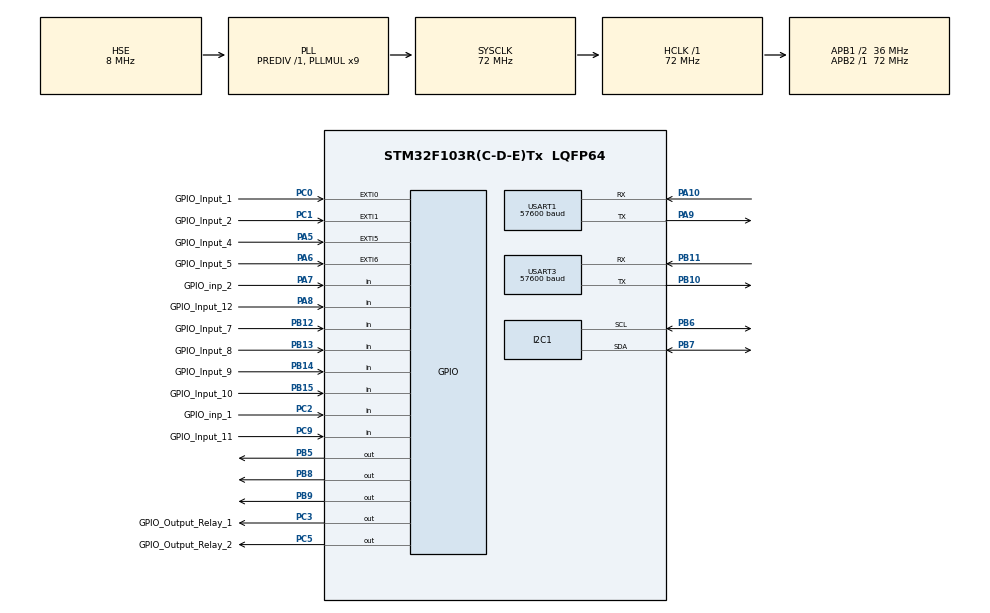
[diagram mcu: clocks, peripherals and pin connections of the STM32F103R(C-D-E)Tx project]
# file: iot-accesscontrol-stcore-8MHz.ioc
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Dma.Request0=USART1_RX
Dma.USART1_RX.0.Direction=DMA_PERIPH_TO_MEMORY
Dma.USART1_RX.0.Instance=DMA1_Channel5
Dma.USART1_RX.0.MemDataAlignment=DMA_MDATAALIGN_BYTE
Dma.USART1_RX.0.MemInc=DMA_MINC_ENABLE
Dma.USART1_RX.0.Mode=DMA_NORMAL
Dma.USART1_RX.0.PeriphDataAlignment=DMA_PDATAALIGN_BYTE
Dma.USART1_RX.0.PeriphInc=DMA_PINC_DISABLE
Dma.USART1_RX.0.Priority=DMA_PRIORITY_VERY_HIGH
IWDG.Prescaler=IWDG_PRESCALER_64
IWDG.Reload=1875
Mcu.Family=STM32F1
Mcu.Name=STM32F103R(C-D-E)Tx
Mcu.Package=LQFP64
NVIC.DMA1_Channel5_IRQn=true\:13\:0\:true\:false\:true\:true\:false\:true\:true
NVIC.EXTI0_IRQn=true\:14\:0\:true\:false\:true\:false\:true\:true\:true
NVIC.EXTI1_IRQn=true\:14\:0\:true\:false\:true\:false\:true\:true\:true
NVIC.EXTI9_5_IRQn=true\:14\:0\:true\:false\:true\:false\:true\:true\:true
NVIC.PriorityGroup=NVIC_PRIORITYGROUP_4
NVIC.TIM2_IRQn=true\:15\:0\:false\:false\:true\:false\:false\:true\:true
NVIC.TimeBase=TIM2_IRQn
NVIC.TimeBaseIP=TIM2
PA10.Mode=Asynchronous
PA10.Signal=USART1_RX
PA13.Mode=Serial_Wire
PA13.Signal=SYS_JTMS-SWDIO
PA14.Mode=Serial_Wire
PA14.Signal=SYS_JTCK-SWCLK
PA5.GPIO_Label=GPIO_Input_4
PA5.GPIO_ModeDefaultEXTI=GPIO_MODE_IT_FALLING
PA5.GPIO_PuPd=GPIO_NOPULL
PA5.Signal=GPXTI5
PA6.GPIO_Label=GPIO_Input_5
PA6.GPIO_ModeDefaultEXTI=GPIO_MODE_IT_FALLING
PA6.GPIO_PuPd=GPIO_NOPULL
PA6.Signal=GPXTI6
PA7.GPIO_Label=GPIO_inp_2
PA7.GPIO_PuPd=GPIO_PULLUP
PA7.Signal=GPIO_Input
PA8.GPIO_Label=GPIO_Input_12
PA8.GPIO_PuPd=GPIO_PULLUP
PA8.Signal=GPIO_Input
PA9.Mode=Asynchronous
PA9.Signal=USART1_TX
PB10.Mode=Asynchronous
PB10.Signal=USART3_TX
PB11.Mode=Asynchronous
PB11.Signal=USART3_RX
PB12.GPIO_Label=GPIO_Input_7
PB12.GPIO_PuPd=GPIO_PULLUP
PB12.Signal=GPIO_Input
PB13.GPIO_Label=GPIO_Input_8
PB13.GPIO_PuPd=GPIO_PULLUP
PB13.Signal=GPIO_Input
PB14.GPIO_Label=GPIO_Input_9
PB14.GPIO_PuPd=GPIO_PULLUP
PB14.Signal=GPIO_Input
PB15.GPIO_Label=GPIO_Input_10
PB15.GPIO_PuPd=GPIO_PULLUP
PB15.Signal=GPIO_Input
PB5.GPIO_PuPd=GPIO_PULLUP
PB5.PinState=GPIO_PIN_SET
PB5.Signal=GPIO_Output
PB6.Mode=I2C
PB6.Signal=I2C1_SCL
PB7.Mode=I2C
PB7.Signal=I2C1_SDA
PB8.GPIO_PuPd=GPIO_PULLUP
PB8.PinState=GPIO_PIN_SET
PB8.Signal=GPIO_Output
PB9.GPIO_PuPd=GPIO_PULLUP
PB9.PinState=GPIO_PIN_SET
PB9.Signal=GPIO_Output
PC0.GPIO_Label=GPIO_Input_1
PC0.GPIO_ModeDefaultEXTI=GPIO_MODE_IT_FALLING
PC0.GPIO_PuPd=GPIO_NOPULL
PC0.Signal=GPXTI0
PC1.GPIO_Label=GPIO_Input_2
PC1.GPIO_ModeDefaultEXTI=GPIO_MODE_IT_FALLING
PC1.GPIO_PuPd=GPIO_NOPULL
PC1.Signal=GPXTI1
PC2.GPIO_Label=GPIO_inp_1
PC2.GPIO_PuPd=GPIO_PULLUP
PC2.Signal=GPIO_Input
PC3.GPIO_Label=GPIO_Output_Relay_1
PC3.GPIO_PuPd=GPIO_PULLDOWN
PC3.Signal=GPIO_Output
PC5.GPIO_Label=GPIO_Output_Relay_2
PC5.GPIO_PuPd=GPIO_PULLDOWN
PC5.PinState=GPIO_PIN_RESET
PC5.Signal=GPIO_Output
PC9.GPIO_Label=GPIO_Input_11
PC9.GPIO_PuPd=GPIO_PULLUP
PC9.Signal=GPIO_Input
PD0-OSC_IN.Mode=HSE-External-Oscillator
PD0-OSC_IN.Signal=RCC_OSC_IN
PD1-OSC_OUT.Mode=HSE-External-Oscillator
PD1-OSC_OUT.Signal=RCC_OSC_OUT
ProjectManager.HeapSize=0x200
ProjectManager.StackSize=0x400
ProjectManager.TargetToolchain=STM32CubeIDE
RCC.AHBFreq_Value=72000000
RCC.APB1CLKDivider=RCC_HCLK_DIV2
RCC.APB1Freq_Value=36000000
RCC.APB1TimFreq_Value=72000000
RCC.APB2Freq_Value=72000000
RCC.APB2TimFreq_Value=72000000
RCC.HCLKFreq_Value=72000000
RCC.PLLMUL=RCC_PLL_MUL9
RCC.PLLSourceVirtual=RCC_PLLSOURCE_HSE
RCC.SYSCLKFreq_VALUE=72000000
RCC.SYSCLKSource=RCC_SYSCLKSOURCE_PLLCLK
RCC.USBFreq_Value=72000000
SEGGER.I-CUBE-embOS.1.3.1.OS_NUMBER_OF_TASKS=0
SEGGER.I-CUBE-embOS.1.3.1.embOSCcRTOSJjembOSOoAPIOoconfiguration=Native
SEGGER.I-CUBE-embOS.1.3.1.embOSCcRTOSJjembOSOokernelOoconfiguration=DebugOoandOoProfiling
USART1.BaudRate=57600
USART1.Parity=PARITY_NONE
USART1.StopBits=STOPBITS_1
USART1.VirtualMode=VM_ASYNC
USART1.WordLength=WORDLENGTH_8B
USART3.BaudRate=57600
USART3.Parity=PARITY_NONE
USART3.StopBits=STOPBITS_1
USART3.VirtualMode=VM_ASYNC
USART3.WordLength=WORDLENGTH_8B
VP_IWDG_VS_IWDG.Mode=IWDG_Activate
VP_SEGGER.I-CUBE-embOS_VS_RTOSJjembOS_1.1.0_1.3.1.Mode=RTOSJjembOS
VP_SYS_VS_tim2.Mode=TIM2
board=custom

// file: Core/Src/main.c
/* USER CODE BEGIN Header */
/**
  ******************************************************************************
  * @file           : main.c
  * @brief          : Main program body
  ******************************************************************************
  * @attention
  *
  * Copyright (c) 2024 STMicroelectronics.
  * All rights reserved.
  *
  * This software is licensed under terms that can be found in the LICENSE file
  * in the root directory of this software component.
  * If no LICENSE file comes with this software, it is provided AS-IS.
  *
  ******************************************************************************
  */
//Port 1 Weignad:
//                  W0 -> In1 -> PC.0
//                  W1 -> In2 -> PC.1
//                  In -> In3 -> PC.2

//Port 2 Weigand:
//                  W0 -> In4 -> PA.5  XX1 XXX
//                  W1 -> In5 -> PA.6  X1X XXX
//                  In -> In6 -> PA.7  1XX XXX

//Inputs:
//                  In7  -> pB.12
//                  In8  -> pB.13
//                  In9  -> pB.14
//                  In10 -> pB.15
//                  In11 -> pC.9
//                  In12 -> pA.8

/* USER CODE END Header */
#include "main.h"
/* Scheduler includes. */
#include "RTOS.h"

#include "dma.h"
#include "i2c.h"
#include "iwdg.h"
#include "usart.h"
#include "gpio.h"

/* USER CODE BEGIN PTD */

#define STACK_TASK_Main_SIZE        2048
#define TASK_DELAY_Main_MS			10

///* USER CODE BEGIN Declarations_Task0 */
OS_TASK         TCB_Task_Main;                              // Control block for Task
OS_STACKPTR int Stack_Task_Main[STACK_TASK_Main_SIZE];            // Stack for Task

void Task_Main();
void Proc_Task_main();

OS_TIMER Timer_Read_Linux;
OS_TIMER Timer_RGB_LED;
OS_TIMER Timer_Read_W_Port1;
OS_TIMER Timer_Read_W_Port2;
OS_TIMER Timer_AfterRead_In1;
OS_TIMER Timer_AfterRead_Port1;
OS_TIMER Timer_AfterRead_In2;
OS_TIMER Timer_AfterRead_Port2;
OS_TIMER Timer_WD;
OS_TIMER Timer_Inps;
OS_TIMER Timer_Update;

//OS_TIMER Timer_RP1;
//OS_TIMER Timer_RP2;
OS_TIMER Timer_intr;

//static uint8_t debug_rx[1] = {'\0'};
uint8_t linux_rx[1] = {'\0'};

//static uint32_t read_counter_port1 = 0;
//static uint32_t read_counter_port2 = 0;
//static uint32_t read_counter_total = 0;

uint32_t read_failure_port1 = 0;
uint32_t read_failure_port2 = 0;
uint32_t read_failure_total = 0;

//static uint32_t linux_read_counter_port1 = 0;
//static uint32_t linux_read_counter_port2 = 0;
//static uint32_t linux_read_counter_total = 0;

//uint32_t linux_read_failure_port1 = 0;
//uint32_t linux_read_failure_port2 = 0;
//uint32_t linux_read_failure_total = 0;

//static uint32_t read_input_port1 = 0;
//static uint32_t read_input_port2 = 0;
//static uint32_t read_input_total = 0;

//uint32_t linux_read_input_failure_port1 = 0;
//uint32_t linux_read_input_failure_port2 = 0;
//uint32_t linux_read_input_failure_total = 0;

uint32_t linux_uart_failure = 0;

uint8_t Port1_Relay = 0;
uint8_t Port1_Relay_Old = 0;
uint8_t Port1_Locked = 0;
uint8_t Port1_Locked_Old = 0;
uint8_t Port1_w_Start = 0;
uint8_t Port1_w_have = 0;
char Port1_W[129];
char In1[3];
uint8_t Port1_W_Counter = 0;
uint8_t Port1_W_bits = 26;
uint8_t Port1_W_bits_Old = 26;

uint8_t Port2_Relay = 0;
uint8_t Port2_Relay_Old = 0;
uint8_t Port2_Locked = 0;
uint8_t Port2_Locked_Old = 0;
uint8_t Port2_w_Start = 0;
uint8_t Port2_w_have = 0;
char Port2_W[129];
char In2[3];
uint8_t Port2_W_Counter = 0;
uint8_t Port2_W_bits = 26;
uint8_t Port2_W_bits_Old = 26;

//static uint8_t UART_Linux_StartBit = 0;
char UART_Linux_Rx_Buffer[256];
uint16_t UART_Linux_Rx_Counter = 0;

//uint8_t RGB_Color = 0;
//uint8_t RGB_Color_Old = 0;

char Inputs[14] = "{\"inps\":\"FF\"}";
//char inp_old[14] = "{\"inps\":\"FF\"}";
uint8_t inps_old = 0b11111111;
//char Inputs_Old[20] = "";

uint8_t intr[512];
uint16_t intr_counter = 0;

uint8_t inp_1_old = 1;
uint8_t inp_2_old = 1;
///* USER CODE END Declarations_Task0 */
/* USER CODE END PTD */

/* USER CODE BEGIN PD */
void UART_Debug_PutString(const char* msg)
{
	HAL_UART_Transmit(&huart3, (const uint8_t*)msg, strlen(msg), 500);
	return;
}

void UART_Linux_PutString(const char* msg)
{
//	for(uint16_t i = 0; i < strlen(msg) + 1; i++){
//		HAL_UART_Transmit(&huart1, (const uint8_t*)&msg[i], 1, 1);
//	}
	HAL_UART_Transmit(&huart1, (const uint8_t*)msg, strlen(msg) + 1, 500);
	return;
}

void UART_Linux_PutChar(char c)
{
	HAL_UART_Transmit(&huart1, ((const uint8_t*)&c), 1, 500);
	return;
}

void Ports_Job(uint8_t intr)
{
//	char data[100];
//	sprintf(data, "intr = 0x%02X\r\n", intr);
//	UART_Debug_PutString(data);

//	uint8_t Port1 = 0;
	uint8_t Port1_W0 = 0;
	uint8_t Port1_W1 = 0;
	//uint8_t Port1_In = 0;

//	uint8_t Port2 = 0;
	uint8_t Port2_W0 = 0;
	uint8_t Port2_W1 = 0;
	//uint8_t Port2_In = 0;

//	Port1 = intr & 0b00000111;
//	Port2 = (intr & 0b11100000) >>  5;

	check_port_1(intr & 0b00000111, &Port1_W0, &Port1_W1);
//    HAL_IWDG_Refresh(&hiwdg);;
//
    check_port_2((intr & 0b11100000) >>  5, &Port2_W0, &Port2_W1);
//    HAL_IWDG_Refresh(&hiwdg);

    //check_port_input_1(Port1_In);
//    HAL_IWDG_Refresh(&hiwdg);

    //check_port_input_2(Port2_In);
//    HAL_IWDG_Refresh(&hiwdg);

    check_port_wiegand_1(Port1_W0, Port1_W1);
//    HAL_IWDG_Refresh(&hiwdg);

    check_port_wiegand_2(Port2_W0, Port2_W1);
//    HAL_IWDG_Refresh(&hiwdg);

    //char s1[100];
    //sprintf(s1, "OS_TIMER_GetStatus(&Timer_AfterRead_Port1) = %d\r\n", OS_TIMER_GetStatus(&Timer_AfterRead_Port1));
    //UART_Debug_PutString(s1);

    //char s2[100];
    //sprintf(s2, "OS_TIMER_GetStatus(&Timer_AfterRead_Port2) = %d\r\n", OS_TIMER_GetStatus(&Timer_AfterRead_Port2));
    //UART_Debug_PutString(s2);

    return;
}

void check_port_1(uint8_t check, uint8_t* p1_0, uint8_t* p1_1)
{
    switch(check){
        case 1:{
            //W1_0
            *p1_0 = 1;
            break;
        }
        case 2:{
            //W1_1
            *p1_1 = 1;
            break;
        }
//        case 3:{
//            //W1_0, W1_1
//        }
        //case 4:{
           // //In1
            //*in1 = 1;
             //break;
        //}
        //case 5:{
            ////W1_0, In1
            //*p1_0 = 1;
            //*in1 = 1;
            //break;
        //}
        //case 6:{
            ////W1_1, In1
            //*p1_0 = 1;
            //*in1 = 1;
             //break;
        //}
//        case 7:{
//            //W1_0, W1_1, In1
//             break;
//        }
        default:{
            break;
        }
    }
    return;
}

void check_port_2(uint8_t check, uint8_t* p2_0, uint8_t* p2_1)
{
    switch(check){
        case 1:{
            //W2_0
            *p2_0 = 1;
            break;
        }
        case 2:{
            //W2_1
            *p2_1 = 1;
            break;
        }
//        case 3:{
//            //W2_0, W2_1
//        }
        //case 4:{
            ////In2
            //*in2 = 1;
             //break;
        //}
        //case 5:{
            ////W2_0, In2
            //*p2_0 = 1;
            //*in2 = 1;
             //break;
        //}
        //case 6:{
            ////W1_1, In1
            //*p2_1 = 1;
            //*in2 = 1;
            //break;
        //}
//        case 7:{
//            //W2_0, W2_1, In2
//             break;
//        }
        default:{
            break;
        }
    }

    return;
}

void check_port_input_1(uint8_t Port1_In)
{
    if(Port1_In && !OS_TIMER_GetStatus(&Timer_AfterRead_In1)){
        In1[0] = 'I';
        In1[1] = '1';
        In1[2] = '\0';

//        read_input_port1++;
//        read_input_total = read_input_port1 + read_input_port2;
//        char data[256];
//        sprintf(data, "read_input_port1 = %lu, read_input_port2 = %lu, read_input_total = %lu\r\n", read_input_port1, read_input_port2, read_input_total);
//
//        UART_Debug_PutString("\r\n----------------------------\r\n");
//        UART_Debug_PutString("Read Input from Port 1: ");
//        HAL_IWDG_Refresh(&hiwdg);
//        UART_Debug_PutString(In1);
//        UART_Debug_PutString("\r\n");
//        UART_Debug_PutString(data);
//        HAL_IWDG_Refresh(&hiwdg);

//		HAL_UART_Transmit(&huart1, (const uint8_t*)In1, strlen(In1) + 1, 500);

//        if(!q_put_message(&_Queue_Send, In1, 3)){
//			UART_Debug_PutString("check_port_input_1 >> failed to put to _Queue_Send >> ");
//			UART_Debug_PutString(In1);
//			UART_Debug_PutString("\r\n");
//		}
//		UART_Linux_PutString(In1);
//		UART_Linux_PutChar('\0');

//		UART_Debug_PutString("send I 1 linux: ");
//		UART_Debug_PutString(In1);
//		UART_Debug_PutString("\r\n");

//		UART_Debug_PutString("Read New Input from Port 1 with linux: ");
//		UART_Debug_PutString(In1);
//		HAL_IWDG_Refresh(&hiwdg);
//		UART_Debug_PutString("\r\n");

//		OS_TIMER_Stop(&Timer_AfterRead_In1);
//		In1[0] = '\0';
//		In1[1] = '\0';
//		In1[2] = '\0';
//				UART_Debug_PutString("----------------------------\r\n");
//				HAL_IWDG_Refresh(&hiwdg);

        OS_TIMER_Restart(&Timer_AfterRead_In1);
//        OS_TIMER_Stop(&Timer_AfterRead_In1);
    }

    return;
}

void check_port_input_2(uint8_t Port2_In)
{
    if(Port2_In && !OS_TIMER_GetStatus(&Timer_AfterRead_In2)){
        In2[0] = 'I';
        In2[1] = '2';
        In2[2] = '\0';

//        read_input_port2++;
//        read_input_total = read_input_port1 + read_input_port2;
//        char data[256];
//        sprintf(data, "read_input_port1 = %lu, read_input_port2 = %lu, read_input_total = %lu\r\n", read_input_port1, read_input_port2, read_input_total);
//
//        UART_Debug_PutString("\r\n----------------------------\r\n");
//        UART_Debug_PutString("Read Input from Port 2: ");
//        HAL_IWDG_Refresh(&hiwdg);
//        UART_Debug_PutString(In2);
//        UART_Debug_PutString("\r\n");
//        UART_Debug_PutString(data);
//        HAL_IWDG_Refresh(&hiwdg);

//		HAL_UART_Transmit(&huart1, (const uint8_t*)In2, strlen(In2) + 1, 500);

//        if(!q_put_message(&_Queue_Send, In2, 3)){
//        	UART_Debug_PutString("check_port_input_2 >> failed to put to _Queue_Send >> ");
//        	UART_Debug_PutString(In2);
//        	UART_Debug_PutString("\r\n");
//        }
//		UART_Linux_PutString(In2);
//		UART_Linux_PutChar('\0');

//		UART_Debug_PutString("send I 2 linux: ");
////		UART_Debug_PutString(In2);
//		UART_Debug_PutString("\r\n");

//		UART_Debug_PutString("Read New Input from Port 2 with linux: ");
//		UART_Debug_PutString(In2);
//		HAL_IWDG_Refresh(&hiwdg);
//		UART_Debug_PutString("\r\n");

//		OS_TIMER_Stop(&Timer_AfterRead_In2);
		//In2[0] = '\0';
		//In2[1] = '\0';
		//In2[2] = '\0';
//		UART_Debug_PutString("----------------------------\r\n");
//		HAL_IWDG_Refresh(&hiwdg);

      OS_TIMER_Restart(&Timer_AfterRead_In2);
//      OS_TIMER_Stop(&Timer_AfterRead_In2);
    }

    return;
}

void check_port_wiegand_1(uint8_t Port1_W0, uint8_t Port1_W1)
{
    if(!Port1_w_have){
        if((Port1_W0 || Port1_W1) && !Port1_Locked && !OS_TIMER_GetStatus(&Timer_AfterRead_Port1)){
            if(Port1_w_Start){
                OS_TIMER_Restart(&Timer_Read_W_Port1);
                if(Port1_W0){
                    Port1_W[Port1_W_Counter] = '0';
                    Port1_W_Counter = Port1_W_Counter + 1;
                }

                if(Port1_W1){
                    Port1_W[Port1_W_Counter] = '1';
                    Port1_W_Counter = Port1_W_Counter + 1;
                }

                if(Port1_W_Counter >= (Port1_W_bits + 3)){
                    Port1_W[Port1_W_Counter] = '\0';
                    Port1_W_Counter = Port1_W_Counter + 1;

//                    Port1_W_Counter = 0;
//					Port1_w_Start = 0;
					Port1_w_have = 1;

                    OS_TIMER_Stop(&Timer_Read_W_Port1);

//                    UART_Debug_PutString("\r\n----------------------------\r\nRead W Port 1: ");
//                    UART_Debug_PutString(Port1_W);
//                    UART_Debug_PutString("\r\n");

//                    read_counter_port1++;
//                    read_counter_total = read_counter_port1 + read_counter_port2;
//                    char data[256];
//                    sprintf(data, "read_counter_port1 = %lu, read_counter_port2 = %lu, read_counter_total = %lu\r\n", read_counter_port1, read_counter_port2, read_counter_total);
//                    UART_Debug_PutString("\r\n----------------------------\r\n");
//                    UART_Debug_PutString("Read W Port 1: ");
//                    HAL_IWDG_Refresh(&hiwdg);
//                    UART_Debug_PutString(Port1_W);
//                    HAL_IWDG_Refresh(&hiwdg);
//                    UART_Debug_PutString("\r\n");
//
//                    UART_Debug_PutString(data);
//                    HAL_IWDG_Refresh(&hiwdg);

	//				HAL_UART_Transmit(&huart1, (const uint8_t*)Port1_W, strlen(Port2_W) + 1, 500);
	//				if(!q_put_message(&_Queue_Send, Port1_W, Port1_W_Counter)){
	//					UART_Debug_PutString("check_port_wiegand_1 >> failed to put to _Queue_Send >> ");
	//					UART_Debug_PutString(Port1_W);
	//					UART_Debug_PutString("\r\n");
	//				}
	//				UART_Linux_PutString(Port1_W);
	//				UART_Linux_PutChar('\0');

	//				UART_Debug_PutString("send W 1 linux: ");
	//				UART_Debug_PutString(Port1_W);
	//				UART_Debug_PutString("\r\n");
	//				linux_read_counter_port1++;
	//				linux_read_counter_total = linux_read_counter_port1 + linux_read_counter_port2;
	//				char data[256];
	//				sprintf(data, "linux_read_counter_port1 = %lu, linux_read_counter_port2 = %lu, linux_read_counter_total = %lu\r\n", linux_read_counter_port1, linux_read_counter_port2, linux_read_counter_total);

	//				UART_Debug_PutString("Read New W from Port 1 with linux: ");
	//				UART_Debug_PutString(Port1_W);
	//				HAL_IWDG_Refresh(&hiwdg);
	//				UART_Debug_PutString("\r\n");

	//				UART_Debug_PutString(data);
	//				HAL_IWDG_Refresh(&hiwdg);

	//				OS_TIMER_Stop(&Timer_AfterRead_Port1);
//					Port1_W_Counter = 0;
//					Port1_w_Start = 0;
//					Port1_W[0] = '\0';
//					Port1_w_have = 0;
	//				UART_Debug_PutString("----------------------------\r\n");
	//				HAL_IWDG_Refresh(&hiwdg);

	//				OS_TIMER_Stop(&Timer_AfterRead_Port1);
					OS_TIMER_Restart(&Timer_AfterRead_Port1);
                }

            }
            else{
                Port1_w_Start = 1;
                OS_TIMER_Restart(&Timer_Read_W_Port1);

                Port1_W_Counter = 0;
                Port1_W[0] = 'P';
                Port1_W[1] = '1';
                Port1_W[2] = 'W';
                Port1_W_Counter = 3;

                if(Port1_W0){
                    Port1_W[Port1_W_Counter] = '0';
                    Port1_W_Counter = Port1_W_Counter + 1;
                }

                if(Port1_W1){
                    Port1_W[Port1_W_Counter] = '1';
                    Port1_W_Counter = Port1_W_Counter + 1;
                }
            }
        }
    }

    return;
}

void check_port_wiegand_2(uint8_t Port2_W0, uint8_t Port2_W1)
{
    if(!Port2_w_have){
        if((Port2_W0 || Port2_W1) && !Port2_Locked && !OS_TIMER_GetStatus(&Timer_AfterRead_Port2)){
            if(Port2_w_Start){
                OS_TIMER_Restart(&Timer_Read_W_Port2);
                if(Port2_W0){
                    Port2_W[Port2_W_Counter] = '0';
                    Port2_W_Counter = Port2_W_Counter + 1;
                }

                if(Port2_W1){
                    Port2_W[Port2_W_Counter] = '1';
                    Port2_W_Counter = Port2_W_Counter + 1;
                }

                if(Port2_W_Counter >= (Port2_W_bits + 3)){
                    Port2_W[Port2_W_Counter] = '\0';
                    Port2_W_Counter = Port2_W_Counter + 1;

//                    Port2_W_Counter = 0;
//                    Port2_w_Start = 0;
                    Port2_w_have = 1;

                    OS_TIMER_Stop(&Timer_Read_W_Port2);

//                    UART_Debug_PutString("\r\n----------------------------\r\nRead W Port 2: ");
//                    UART_Debug_PutString(Port2_W);
//                    UART_Debug_PutString("\r\n");

//                    read_counter_port2++;
//                    read_counter_total = read_counter_port1 + read_counter_port2;
//                    char data[256];
//                    sprintf(data, "read_counter_port1 = %lu, read_counter_port2 = %lu, read_counter_total = %lu\r\n", read_counter_port1, read_counter_port2, read_counter_total);
//
//                    UART_Debug_PutString("\r\n----------------------------\r\n");
//                    UART_Debug_PutString("Read W Port 2: ");
//                    HAL_IWDG_Refresh(&hiwdg);
//                    UART_Debug_PutString(Port2_W);
//                    HAL_IWDG_Refresh(&hiwdg);
//                    UART_Debug_PutString("\r\n");
//
//                    HAL_IWDG_Refresh(&hiwdg);
//                    UART_Debug_PutString(data);

//				HAL_UART_Transmit(&huart1, (const uint8_t*)Port2_W, strlen(Port2_W) + 1, 500);
//				if(!q_put_message(&_Queue_Send, Port2_W, Port2_W_Counter)){
//					UART_Debug_PutString("check_port_wiegand_2 >> failed to put to _Queue_Send >> ");
//					UART_Debug_PutString(Port2_W);
//					UART_Debug_PutString("\r\n");
//				}
//				UART_Linux_PutString(Port2_W);
//				UART_Linux_PutChar('\0');

//				UART_Debug_PutString("send W 2 linux: ");
//				UART_Debug_PutString(Port2_W);
//				UART_Debug_PutString("\r\n");

//				linux_read_counter_port2++;
//				linux_read_counter_total = linux_read_counter_port1 + linux_read_counter_port2;
//				char data[256];
//				sprintf(data, "linux_read_counter_port1 = %lu, linux_read_counter_port2 = %lu, linux_read_counter_total = %lu\r\n", linux_read_counter_port1, linux_read_counter_port2, linux_read_counter_total);

//				UART_Debug_PutString("Read New W from Port 2 with linux: ");
//				UART_Debug_PutString(Port2_W);
//				HAL_IWDG_Refresh(&hiwdg);
//				UART_Debug_PutString("\r\n");

//				UART_Debug_PutString(data);
//				HAL_IWDG_Refresh(&hiwdg);

//				OS_TIMER_Stop(&Timer_AfterRead_Port2);
//				Port2_W_Counter = 0;
//				Port2_w_Start = 0;
//				Port2_W[0] = '\0';
//				Port2_w_have = 0;
//				UART_Debug_PutString("----------------------------\r\n");
//				HAL_IWDG_Refresh(&hiwdg);

//				OS_TIMER_Stop(&Timer_AfterRead_Port2);
                    OS_TIMER_Restart(&Timer_AfterRead_Port2);
                }

            }
            else{
                Port2_w_Start = 1;
                OS_TIMER_Restart(&Timer_Read_W_Port2);

                Port2_W_Counter = 0;
                Port2_W[0] = 'P';
                Port2_W[1] = '2';
                Port2_W[2] = 'W';
                Port2_W_Counter = 3;

                if(Port2_W0){
                    Port2_W[Port2_W_Counter] = '0';
                    Port2_W_Counter = Port2_W_Counter + 1;
                }

                if(Port2_W1){
                    Port2_W[Port2_W_Counter] = '1';
                    Port2_W_Counter = Port2_W_Counter + 1;
                }
            }
        }
    }

    return;
}

void Inputs_Job()
{
    uint8_t inps = Pins_Inputs_Read();
    HAL_IWDG_Refresh(&hiwdg);

    if(inps_old != inps){
    	inps_old = inps;
    	sprintf(Inputs, "{\"inps\":\"%02X\"}", inps);
		if(!q_put_message(&_Queue_Send, Inputs, 14)){
			UART_Debug_PutString("Inputs_Job >> failed to put to _Queue_Send >> ");
			UART_Debug_PutString(Inputs);
			UART_Debug_PutString("\r\n");
		}
//    	UART_Linux_PutString(Inputs);
    	HAL_IWDG_Refresh(&hiwdg);
    }

    //    UART_Debug_PutString(Inputs);
    //    UART_Debug_PutString("\r\n");

//    byte_to_binary(inps, str_binary);
//    strcat(Inputs, str_binary);
//    HAL_IWDG_Refresh(&hiwdg);
//    strcat(Inputs, "\"}");
//    HAL_IWDG_Refresh(&hiwdg);

//    UART_Debug_PutString("\r\n----------------------------\r\n");
//    UART_Debug_PutString("read inputs: ");
//    HAL_IWDG_Refresh(&hiwdg);
//    UART_Debug_PutString(Inputs);
//    HAL_IWDG_Refresh(&hiwdg);
//    UART_Debug_PutString("\r\n----------------------------\r\n");
//    HAL_IWDG_Refresh(&hiwdg);
//
    return;
}

void Inps()
{
    uint8_t inp_1 = HAL_GPIO_ReadPin(GPIOC, GPIO_inp_1_Pin);
    uint8_t inp_2 = HAL_GPIO_ReadPin(GPIOA, GPIO_inp_2_Pin);

    if(inp_1_old != inp_1){
        inp_1_old = inp_1;
        if(!inp_1)
            check_port_input_1(1);
    }

    if(inp_2_old != inp_2){
        inp_2_old = inp_2;
        if(!inp_2)
            check_port_input_2(1);
    }

    return;
}

//Main Job
void CmdTask(char* msg)
{
//	UART_Debug_PutString(msg);
//	UART_Debug_PutString("\r\n");
//	return;
	if(fota_flag_start == 1){
		if((memcmp((char*)&msg[0], "{FOT_FOT}:", 10) == 0)){
//			OS_TIMER_Restart(&Timer_Update);
			update_procedure(&((char*)msg)[10]);
		}
		else{
			UART_Debug_PutString("UPDATE IN PROGRESS >> NOT AN UPDATE PACKET!!!\r\n");
		}
	}
	else{
		//read ports
//		if(memcmp(msg, "Port 1 Read", 11) == 0){
//			if(Port1_W[0] != '\0' && Port1_w_have){
////				HAL_UART_Transmit(&huart1, (const uint8_t*)Port1_W, strlen(Port2_W) + 1, 500);
//				UART_Linux_PutString(Port1_W);
////				UART_Linux_PutChar('\0');
//
//				UART_Debug_PutString("Read W 1 linux: ");
//				UART_Debug_PutString(Port1_W);
//				UART_Debug_PutString("\r\n");
////				linux_read_counter_port1++;
////				linux_read_counter_total = linux_read_counter_port1 + linux_read_counter_port2;
////				char data[256];
////				sprintf(data, "linux_read_counter_port1 = %lu, linux_read_counter_port2 = %lu, linux_read_counter_total = %lu\r\n", linux_read_counter_port1, linux_read_counter_port2, linux_read_counter_total);
//
////				UART_Debug_PutString("Read New W from Port 1 with linux: ");
////				UART_Debug_PutString(Port1_W);
////				HAL_IWDG_Refresh(&hiwdg);
////				UART_Debug_PutString("\r\n");
//
////				UART_Debug_PutString(data);
////				HAL_IWDG_Refresh(&hiwdg);
//
////				OS_TIMER_Stop(&Timer_AfterRead_Port1);
//				Port1_W_Counter = 0;
//				Port1_w_Start = 0;
//				Port1_W[0] = '\0';
//				Port1_w_have = 0;
////				UART_Debug_PutString("----------------------------\r\n");
////				HAL_IWDG_Refresh(&hiwdg);
//
//				OS_TIMER_Stop(&Timer_AfterRead_Port1);
//			}
//
//		}
//		else if(memcmp(msg, "Port 2 Read", 11) == 0){
//			if(Port2_W[0] != '\0' && Port2_w_have){
////				HAL_UART_Transmit(&huart1, (const uint8_t*)Port2_W, strlen(Port2_W) + 1, 500);
//				UART_Linux_PutString(Port2_W);
////				UART_Linux_PutChar('\0');
//
//				UART_Debug_PutString("Read W 2 linux: ");
//				UART_Debug_PutString(Port2_W);
//				UART_Debug_PutString("\r\n");
//
////				linux_read_counter_port2++;
////				linux_read_counter_total = linux_read_counter_port1 + linux_read_counter_port2;
////				char data[256];
////				sprintf(data, "linux_read_counter_port1 = %lu, linux_read_counter_port2 = %lu, linux_read_counter_total = %lu\r\n", linux_read_counter_port1, linux_read_counter_port2, linux_read_counter_total);
//
////				UART_Debug_PutString("Read New W from Port 2 with linux: ");
////				UART_Debug_PutString(Port2_W);
////				HAL_IWDG_Refresh(&hiwdg);
////				UART_Debug_PutString("\r\n");
//
////				UART_Debug_PutString(data);
////				HAL_IWDG_Refresh(&hiwdg);
//
////				OS_TIMER_Stop(&Timer_AfterRead_Port2);
//				Port2_W_Counter = 0;
//				Port2_w_Start = 0;
//				Port2_W[0] = '\0';
//				Port2_w_have = 0;
////				UART_Debug_PutString("----------------------------\r\n");
////				HAL_IWDG_Refresh(&hiwdg);
//
//				OS_TIMER_Stop(&Timer_AfterRead_Port2);
//			}
//		}
//		//read iputs
//		else if(memcmp(msg, "Port 1 Input", 12) == 0){
//			if(In1[0] != '\0'){
////				HAL_UART_Transmit(&huart1, (const uint8_t*)In1, strlen(In1) + 1, 500);
//				UART_Linux_PutString(In1);
////				UART_Linux_PutChar('\0');
//
//				UART_Debug_PutString("Read I 1 linux: ");
//				UART_Debug_PutString(In1);
//				UART_Debug_PutString("\r\n");
//
////				UART_Debug_PutString("Read New Input from Port 1 with linux: ");
////				UART_Debug_PutString(In1);
////				HAL_IWDG_Refresh(&hiwdg);
////				UART_Debug_PutString("\r\n");
//
////				OS_TIMER_Stop(&Timer_AfterRead_In1);
//				In1[0] = '\0';
//				In1[1] = '\0';
//				In1[2] = '\0';
////				UART_Debug_PutString("----------------------------\r\n");
////				HAL_IWDG_Refresh(&hiwdg);
//
//				OS_TIMER_Stop(&Timer_AfterRead_In1);
//			}
//		}
//		else if(memcmp(msg, "Port 2 Input", 12) == 0){
//			if(In2[0] != '\0'){
////				HAL_UART_Transmit(&huart1, (const uint8_t*)In2, strlen(In2) + 1, 500);
//				UART_Linux_PutString(In2);
////				UART_Linux_PutChar('\0');
//
//				UART_Debug_PutString("Read I 2 linux: ");
//				UART_Debug_PutString(In2);
//				UART_Debug_PutString("\r\n");
//
////				UART_Debug_PutString("Read New Input from Port 2 with linux: ");
////				UART_Debug_PutString(In2);
////				HAL_IWDG_Refresh(&hiwdg);
////				UART_Debug_PutString("\r\n");
//
////				OS_TIMER_Stop(&Timer_AfterRead_In2);
//				In2[0] = '\0';
//				In2[1] = '\0';
//				In2[2] = '\0';
////				UART_Debug_PutString("----------------------------\r\n");
////				HAL_IWDG_Refresh(&hiwdg);
//
//				OS_TIMER_Stop(&Timer_AfterRead_In2);
//			}
//		}
		//relay open close
		/*else*/ if(memcmp(msg, "Port 1 Open", 11) == 0){
			Port1_Relay = 1;
			if(Port1_Relay != Port1_Relay_Old){
				Port1_Relay_Old = Port1_Relay;
				UART_Debug_PutString("Port 1 Open\r\n");
				Relay_Port1(Port1_Relay);
				HAL_IWDG_Refresh(&hiwdg);
			}
		}
		else if(memcmp(msg, "Port 1 Close", 12) == 0){
			Port1_Relay = 0;
			if(Port1_Relay != Port1_Relay_Old){
				Port1_Relay_Old = Port1_Relay;
				UART_Debug_PutString("Port 1 Close\r\n");
				Relay_Port1(Port1_Relay);
				HAL_IWDG_Refresh(&hiwdg);
			}
		}
		else if(memcmp(msg, "Port 2 Open", 11) == 0){
			Port2_Relay = 1;
			if(Port2_Relay != Port2_Relay_Old){
				Port2_Relay_Old = Port2_Relay;
				UART_Debug_PutString("Port 2 Open\r\n");
				Relay_Port2(Port2_Relay);
				HAL_IWDG_Refresh(&hiwdg);
			}
		}
		else if(memcmp(msg, "Port 2 Close", 12) == 0){
			Port2_Relay = 0;
			if(Port2_Relay != Port2_Relay_Old){
				Port2_Relay_Old = Port2_Relay;
				UART_Debug_PutString("Port 2 Close\r\n");
				Relay_Port2(Port2_Relay);
				HAL_IWDG_Refresh(&hiwdg);
			}
		}
		//port locks
		else if(memcmp(msg, "Port 1 Lock", 11) == 0){
			Port1_Locked = 1;
			if(Port1_Locked != Port1_Locked_Old){
				Port1_Locked_Old = Port1_Locked;
				UART_Debug_PutString("Port 1 Lock\r\n");
				HAL_IWDG_Refresh(&hiwdg);
			}
		}
		else if(memcmp(msg, "Port 1 UnLock", 13) == 0){
			Port1_Locked = 0;
			if(Port1_Locked != Port1_Locked_Old){
				Port1_Locked_Old = Port1_Locked;
				UART_Debug_PutString("Port 1 UnLock\r\n");
				HAL_IWDG_Refresh(&hiwdg);
			}
		}
		else if(memcmp(msg, "Port 2 Lock", 11) == 0){
			Port2_Locked = 1;
			if(Port2_Locked != Port2_Locked_Old){
				Port2_Locked_Old = Port2_Locked;
				UART_Debug_PutString("Port 2 Lock\r\n");
				HAL_IWDG_Refresh(&hiwdg);
			}
		}
		else if(memcmp(msg, "Port 2 UnLock", 13) == 0){
			Port2_Locked = 0;
			if(Port2_Locked != Port2_Locked_Old){
				Port2_Locked_Old = Port2_Locked;
				UART_Debug_PutString("Port 2 UnLock\r\n");
				HAL_IWDG_Refresh(&hiwdg);
			}
		}
		//port w config bits
		else if(memcmp(msg, "Port 1 Wbits:", 13) == 0){
			//Port1_W_bits
			char* ret = NULL;
			ret = strremove((char*)msg, "Port 1 Wbits:");
			HAL_IWDG_Refresh(&hiwdg);

			Port1_W_bits = atoi(ret);
			HAL_IWDG_Refresh(&hiwdg);
			if(Port1_W_bits != Port1_W_bits_Old){
				Port1_W_bits_Old = Port1_W_bits;
				char ss[100];
				sprintf(ss, "Port 1 Wbits = %d\r\n", Port1_W_bits);
				UART_Debug_PutString(ss);
				HAL_IWDG_Refresh(&hiwdg);
			}
		}
		else if(memcmp(msg, "Port 2 Wbits:", 13) == 0){
			//Port2_W_bits
			char* ret = NULL;
			ret = strremove((char*)msg, "Port 2 Wbits:");
			HAL_IWDG_Refresh(&hiwdg);
			Port2_W_bits = atoi(ret);
			HAL_IWDG_Refresh(&hiwdg);
			if(Port2_W_bits != Port2_W_bits_Old){
				Port2_W_bits_Old = Port2_W_bits;
				char ss[100];
				sprintf(ss, "Port 2 Wbits = %d\r\n", Port2_W_bits);
				UART_Debug_PutString(ss);
				HAL_IWDG_Refresh(&hiwdg);
			}
		}
		//Cy RGB mode
		else if(memcmp(msg, "Cy RGB:", 7) == 0){
			//RGB
			OS_TIMER_Restart(&Timer_RGB_LED);
			char* ret = NULL;
			ret = strremove((char*)msg, "Cy RGB:");
			HAL_IWDG_Refresh(&hiwdg);
			uint32_t color = strtol(ret, NULL, 10);
			HAL_IWDG_Refresh(&hiwdg);
			RGB_Color = (uint8_t)color;
			if(RGB_Color != RGB_Color_Old){
				RGB_Color_Old = RGB_Color;
				if(RGB_Color > 6 || RGB_Color < 0){
					RGB_Color = 1;
					RGB_Color_Old = 1;
				}
				char ss[100];
				sprintf(ss, "RGB_Color = %d\r\n", RGB_Color);
				UART_Debug_PutString(ss);
				RGB(RGB_Color);
				HAL_IWDG_Refresh(&hiwdg);
			}
		}
		//Cy reset
		else if(memcmp(msg, "Cy Reset", 8) == 0){
			HAL_IWDG_Refresh(&hiwdg);
			NVIC_SystemReset();
		}
		else if(memcmp(msg, "Cy Connect", 10) == 0){
//			HAL_UART_Transmit(&huart1, (const uint8_t*)("Cy Connected"), strlen("Cy Connected") + 1, 500);
			UART_Linux_PutString("Cy Connected");
//			UART_Linux_PutChar('\0');
			HAL_IWDG_Refresh(&hiwdg);
		}
//		else if(memcmp(msg, "Inputs", 6) == 0){
//	//    	UART_Debug_PutString(Inputs);
//	//    	UART_Debug_PutString("\r\n");
////			HAL_UART_Transmit(&huart1, (const uint8_t*)(Inputs), strlen(Inputs) + 1, 1000);
//			UART_Linux_PutString(Inputs);
////			UART_Linux_PutChar('\0');
//			HAL_IWDG_Refresh(&hiwdg);
//		}
//		else if(memcmp(msg, "App Version", 11) == 0){
//			char app_version_buff[50];
//			sprintf(app_version_buff,"{\"App Version\":\"");
//			strcat(app_version_buff,APP_VERSION);
//			strcat(app_version_buff, "\"}\0");
////			HAL_UART_Transmit(&huart1, (const uint8_t*)(app_version_buff), strlen(app_version_buff) + 1, 500);
//			UART_Linux_PutString(app_version_buff);
////			UART_Linux_PutChar('\0');
//			HAL_IWDG_Refresh(&hiwdg);
//		}
		else if(memcmp(msg, "{SET_FOT}:", 10) == 0){
	    	UART_Debug_PutString("\r\nUPDATE COMMAND RECEIVED!!!\r\n");
//			OS_TIMER_Restart(&Timer_Update);
	    	RGB_Color = 5;
	    	RGB_Color_Old = 5;
	    	RGB(RGB_Color);
			update_check_packet(msg);
			HAL_IWDG_Refresh(&hiwdg);

		}
		else{
	//        UART_Linux_ClearRxBuffer();
	//        UART_Linux_ClearTxBuffer();
	//    	if(msg[0] == 'P')//UART Problem
	//    		CmdTask(&msg[1]);
	//    	else{
	//    	char dd[64];
	//    	sprintf(dd, "0: %d\r\n", msg[0]);
	//    	UART_Debug_PutString(dd);
//				if(strlen(msg) > 0){
					UART_Debug_PutString("---------- Wrong Msg: ");
					UART_Debug_PutString(msg);
					UART_Debug_PutString("\r\n");
					HAL_IWDG_Refresh(&hiwdg);
//				}
	//    	}
		}
	}

    return;
}

/* USER CODE END PD */

void SystemClock_Config(void);

int main(void)
{

  /* MCU Configuration--------------------------------------------------------*/

  /* Reset of all peripherals, Initializes the Flash interface and the Systick. */
  HAL_Init();

  /* Configure the system clock */
  SystemClock_Config();

  /* Initialize all configured peripherals */
  MX_GPIO_Init();
  MX_DMA_Init();
  MX_USART3_UART_Init();
  MX_USART1_UART_Init();
  MX_I2C1_Init();
  MX_IWDG_Init();
  /* USER CODE BEGIN 2 */

//  OS_TASK_Create(&TCB_Task_Start, "Task_Quectel", 100, Task_Start, Stack_Task_Start, sizeof(Stack_Task_Start), 2);  // Create & start
  //Inits();

    OS_Init();
    OS_InitHW();

    /* Start embOS */
    OS_TASK_Create(&TCB_Task_Main, "Task_Main", 400, Task_Main, Stack_Task_Main, sizeof(Stack_Task_Main), 2);
//    Inits();
    OS_Start();
  /* USER CODE END 2 */

  /* Initialize the embOS kernel and configure the hardware parameters for embOS */
  OS_Init();
  OS_InitHW();

  /* Start embOS */
  OS_Start();

  /* Infinite loop */
  while (1)
  {

  }
}

void SystemClock_Config(void)
{
  RCC_OscInitTypeDef RCC_OscInitStruct = {0};
  RCC_ClkInitTypeDef RCC_ClkInitStruct = {0};

  /** Initializes the RCC Oscillators according to the specified parameters
  * in the RCC_OscInitTypeDef structure.
  */
  RCC_OscInitStruct.OscillatorType = RCC_OSCILLATORTYPE_LSI|RCC_OSCILLATORTYPE_HSE;
  RCC_OscInitStruct.HSEState = RCC_HSE_ON;
  RCC_OscInitStruct.HSEPredivValue = RCC_HSE_PREDIV_DIV1;
  RCC_OscInitStruct.HSIState = RCC_HSI_ON;
  RCC_OscInitStruct.LSIState = RCC_LSI_ON;
  RCC_OscInitStruct.PLL.PLLState = RCC_PLL_ON;
  RCC_OscInitStruct.PLL.PLLSource = RCC_PLLSOURCE_HSE;
  RCC_OscInitStruct.PLL.PLLMUL = RCC_PLL_MUL9;
  if (HAL_RCC_OscConfig(&RCC_OscInitStruct) != HAL_OK)
  {
    Error_Handler();
  }

  /** Initializes the CPU, AHB and APB buses clocks
  */
  RCC_ClkInitStruct.ClockType = RCC_CLOCKTYPE_HCLK|RCC_CLOCKTYPE_SYSCLK
                              |RCC_CLOCKTYPE_PCLK1|RCC_CLOCKTYPE_PCLK2;
  RCC_ClkInitStruct.SYSCLKSource = RCC_SYSCLKSOURCE_PLLCLK;
  RCC_ClkInitStruct.AHBCLKDivider = RCC_SYSCLK_DIV1;
  RCC_ClkInitStruct.APB1CLKDivider = RCC_HCLK_DIV2;
  RCC_ClkInitStruct.APB2CLKDivider = RCC_HCLK_DIV1;

  if (HAL_RCC_ClockConfig(&RCC_ClkInitStruct, FLASH_LATENCY_2) != HAL_OK)
  {
    Error_Handler();
  }
}

/* USER CODE BEGIN 4 */
void Inits()
{
	UART_Debug_PutString("********************************* Inits(); *************************************************\r\n");

//	__HAL_AFIO_REMAP_SWJ_NOJTAG(); // FYI : fix inp_2 problem
	HAL_IWDG_Refresh(&hiwdg);

	UART_Debug_PutString("********************************* this is 8800  ********************************************\r\n");
	HAL_IWDG_Refresh(&hiwdg);
	UART_Debug_PutString("********************************* Start STM32 Access Slave 57600 *********************************\r\n");
	HAL_IWDG_Refresh(&hiwdg);
	UART_Debug_PutString("********************************* ");
	HAL_IWDG_Refresh(&hiwdg);
	UART_Debug_PutString(APP_VERSION);
	HAL_IWDG_Refresh(&hiwdg);
	UART_Debug_PutString(" *****************************\r\n");
	HAL_IWDG_Refresh(&hiwdg);
	//  HAL_Delay(100);
//	HAL_IWDG_Refresh(&hiwdg);

	OS_Q_Create(&_Queue_Main, &_QBuffer_Queue_Main, sizeof(_QBuffer_Queue_Main));
	OS_Q_Create(&_Queue_Send, &_QBuffer_Queue_Send, sizeof(_QBuffer_Queue_Send));

//	HAL_UART_Receive_IT(&huart1, linux_rx, sizeof(linux_rx));
	HAL_UART_Receive_DMA(&huart1, linux_rx, sizeof(linux_rx));
	HAL_IWDG_Refresh(&hiwdg);

	RGB_Color = 1;
	RGB_Color_Old = 1;
	RGB(RGB_Color); //Cypress run
	HAL_IWDG_Refresh(&hiwdg);

//	UART_Debug_PutString("********************************* Brd V3.0 App V2.0 (and-inps) *********************************\r\n");

	init_vars();
	timers_create();

	HAL_IWDG_Refresh(&hiwdg);
	Timer_Inps_Callback();

	HAL_IWDG_Refresh(&hiwdg);
	Timer_WD_Callback();

	HAL_IWDG_Refresh(&hiwdg);
	Timer_RGB_LED_Callback();

	UART_Debug_PutString("********************************* IEnds(); *************************************************\r\n");
	__enable_irq();
	return;
}

void init_vars()
{
    Port1_W[0] = '\0';
    In1[0] = '\0';
    HAL_IWDG_Refresh(&hiwdg);

    Port2_W[0] = '\0';
    In2[0] = '\0';
    HAL_IWDG_Refresh(&hiwdg);

	memset(intr, '\0', sizeof(intr));
	HAL_IWDG_Refresh(&hiwdg);

    memset(_QBuffer_Queue_Main, '\0', Queue_Size_Main);
    HAL_IWDG_Refresh(&hiwdg);

    memset(_QBuffer_Queue_Send, '\0', Queue_Size_Send);
	HAL_IWDG_Refresh(&hiwdg);

    return;
}

void timers_create()
{
    // Create without start.
    OS_TIMER_Create(&Timer_Read_Linux, Timer_Read_Linux_Callback, 10);
    HAL_IWDG_Refresh(&hiwdg);

    OS_TIMER_Create(&Timer_RGB_LED, Timer_RGB_LED_Callback, 1000);
    HAL_IWDG_Refresh(&hiwdg);

    OS_TIMER_Create(&Timer_Read_W_Port1, Timer_Read_W_Port1_Callback, 100);
    HAL_IWDG_Refresh(&hiwdg);
    OS_TIMER_Create(&Timer_Read_W_Port2, Timer_Read_W_Port2_Callback, 100);
    HAL_IWDG_Refresh(&hiwdg);

    OS_TIMER_Create(&Timer_AfterRead_In1, Timer_AfterRead_Input1_Callback, 10);
    HAL_IWDG_Refresh(&hiwdg);
    OS_TIMER_Create(&Timer_AfterRead_Port1, Timer_AfterRead_Port1_Callback, 10);
    HAL_IWDG_Refresh(&hiwdg);

    OS_TIMER_Create(&Timer_AfterRead_In2, Timer_AfterRead_Input2_Callback, 10);
    HAL_IWDG_Refresh(&hiwdg);
    OS_TIMER_Create(&Timer_AfterRead_Port2, Timer_AfterRead_Port2_Callback, 10);
    HAL_IWDG_Refresh(&hiwdg);

    OS_TIMER_Create(&Timer_WD, Timer_WD_Callback, 100);
    HAL_IWDG_Refresh(&hiwdg);

    OS_TIMER_Create(&Timer_Inps, Timer_Inps_Callback, 50);
    HAL_IWDG_Refresh(&hiwdg);

//    OS_TIMER_Create(&Timer_RP1, Timer_Inps_Callback, 1000);
//    HAL_IWDG_Refresh(&hiwdg);

//    OS_TIMER_Create(&Timer_RP2, Timer_Inps_Callback, 1000);
//    HAL_IWDG_Refresh(&hiwdg);

//    OS_TIMER_CREATE(&Timer_Update, Timer_Update_Callback, 1000);
//    OS_TIMER_Stop(&Timer_Update);
//    HAL_IWDG_Refresh(&hiwdg);

    OS_TIMER_Create(&Timer_intr, Timer_Intr_Callback, 200);
	HAL_IWDG_Refresh(&hiwdg);

    return;
}

void Task_Main()
{
	Inits();
	while(1){
		Proc_Task_main();
		HAL_IWDG_Refresh(&hiwdg);
		OS_TASK_Delay(TASK_DELAY_Main_MS);
	}

	return;
}

void Proc_Task_main()
{

	void* ret_send = NULL;
	ret_send = q_get_message(&_Queue_Send);
	while(ret_send){
		HAL_IWDG_Refresh(&hiwdg);
		UART_Linux_PutString((char*)ret_send);
		if(memcmp((char*)ret_send, "{FOT_REQ}:", 10) != 0){
			UART_Debug_PutString("Proc_Task_main -> send: ");
			UART_Debug_PutString((char*)ret_send);
			UART_Debug_PutString("\r\n");
		}
		OS_QUEUE_Purge(&_Queue_Send);

		OS_TASK_Delay(TASK_DELAY_Main_MS);
		ret_send = NULL;
		ret_send = q_get_message(&_Queue_Send);
	}

	void* ret = NULL;
	ret = q_get_message(&_Queue_Main);
	while(ret){
		HAL_IWDG_Refresh(&hiwdg);
		CmdTask((char*)ret);
		OS_QUEUE_Purge(&_Queue_Main);
		OS_TASK_Delay(TASK_DELAY_Main_MS);
		ret = NULL;
		ret = q_get_message(&_Queue_Main);
	}
	return;
}

//Callbacks
void Timer_Read_Linux_Callback()
{
//	OS_TIMER_Stop(&Timer_Read_Linux);
//	linux_uart_failure++;
//	char data[128];
//	sprintf(data, "linux_uart_failure = %lu\r\n", linux_uart_failure);
//	UART_Debug_PutString("****************************\r\n");
//	UART_Debug_PutString("Timer_Read_Linux_Callback\r\n");
//	UART_Debug_PutString(data);
//	UART_Debug_PutString(UART_Linux_Rx_Buffer);
//	UART_Debug_PutString("\r\n");
//	UART_Debug_PutString("****************************\r\n");

	if(UART_Linux_Rx_Buffer[UART_Linux_Rx_Counter - 1] == '\0'){
		if(!q_put_message(&_Queue_Main, UART_Linux_Rx_Buffer, UART_Linux_Rx_Counter)){
			UART_Debug_PutString("HAL_UART_RxCpltCallback >> failed to put to _Queue_Main >> ");
			UART_Debug_PutString(UART_Linux_Rx_Buffer);
			UART_Debug_PutString("\r\n");
		}
	}
	else{
		linux_uart_failure++;
		char data[128];
		sprintf(data, "linux_uart_failure = %lu\r\n", linux_uart_failure);
		UART_Debug_PutString("****************************\r\n");
		UART_Debug_PutString("Timer_Read_Linux_Callback\r\n");
		UART_Debug_PutString(data);
		UART_Debug_PutString(UART_Linux_Rx_Buffer);
		UART_Debug_PutString("\r\n");
		UART_Debug_PutString("****************************\r\n");
	}

	memset(UART_Linux_Rx_Buffer, '\0', UART_Linux_Rx_Counter);
	UART_Linux_Rx_Counter = 0;

    return;
}

void Timer_RGB_LED_Callback()
{
    OS_TIMER_Stop(&Timer_RGB_LED);
    if(!fota_flag_start){
		RGB_Color = 1;
		if(RGB_Color != RGB_Color_Old){
			RGB_Color_Old = RGB_Color;
			RGB(RGB_Color);

			char ss[256];
			sprintf(ss, "Timer_RGB_LED_Callback --> RGB_Color = %d\r\n", RGB_Color);
			HAL_IWDG_Refresh(&hiwdg);
			UART_Debug_PutString(ss);
			HAL_IWDG_Refresh(&hiwdg);
		}
    }

    OS_TIMER_Restart(&Timer_RGB_LED);

    return;
}

void Timer_Read_W_Port1_Callback()
{
    OS_TIMER_Stop(&Timer_Read_W_Port1);

    read_failure_port1++;
    read_failure_total = read_failure_port1 + read_failure_port2;
    char data[256];
    sprintf(data, "read_failure_port1 = %lu, read_failure_port2 = %lu, read_failure_total = %lu\r\n", read_failure_port1, read_failure_port2, read_failure_total);
    UART_Debug_PutString("****************************\r\n");
    UART_Debug_PutString("Timer_Read_W_Port1_Callback:");
    UART_Debug_PutString(Port1_W);
    UART_Debug_PutString("\r\n");
    HAL_IWDG_Refresh(&hiwdg);
    UART_Debug_PutString(data);
    UART_Debug_PutString("****************************\r\n");
    HAL_IWDG_Refresh(&hiwdg);

    Port1_W_Counter = 0;
    Port1_w_Start = 0;
    Port1_W[0] = '\0';
    Port1_w_have = 0;

    return;
}

void Timer_Read_W_Port2_Callback()
{
    OS_TIMER_Stop(&Timer_Read_W_Port2);

    read_failure_port2++;
    read_failure_total = read_failure_port1 + read_failure_port2;
    char data[256];
    sprintf(data, "read_failure_port1 = %lu, read_failure_port2 = %lu, read_failure_total = %lu\r\n", read_failure_port1, read_failure_port2, read_failure_total);
    UART_Debug_PutString("****************************\r\n");
    UART_Debug_PutString("Timer_Read_W_Port2_Callback:");
    UART_Debug_PutString(Port2_W);
    UART_Debug_PutString("\r\n");
    HAL_IWDG_Refresh(&hiwdg);
    UART_Debug_PutString(data);
    UART_Debug_PutString("****************************\r\n");
    HAL_IWDG_Refresh(&hiwdg);

    Port2_W_Counter = 0;
    Port2_w_Start = 0;
    Port2_W[0] = '\0';
    Port2_w_have = 0;

    return;
}

void Timer_AfterRead_Input1_Callback()
{
//    OS_TIMER_Stop(&Timer_AfterRead_In1);
//
//    linux_read_input_failure_port1++;
//    linux_read_input_failure_total = linux_read_input_failure_port1 + linux_read_input_failure_port2;
//    char data[256];
//    sprintf(data, "linux_read_input_failure_port1 = %lu, linux_read_input_failure_port2 = %lu, linux_read_input_failure_total = %lu\r\n", linux_read_input_failure_port1, linux_read_input_failure_port2, linux_read_input_failure_total);
//
//    UART_Debug_PutString("****************************\r\n");
//    UART_Debug_PutString("Timer_AfterRead_Input1_Callback\r\n");
//    HAL_IWDG_Refresh(&hiwdg);
//    UART_Debug_PutString(data);
//    UART_Debug_PutString("****************************\r\n");
//    HAL_IWDG_Refresh(&hiwdg);

	if(!q_put_message(&_Queue_Send, In1, 3)){
		UART_Debug_PutString("Timer_AfterRead_Input1_Callback >> failed to put to _Queue_Send >> ");
		UART_Debug_PutString(In1);
		UART_Debug_PutString("\r\n");
	}

    In1[0] = '\0';
    In1[1] = '\0';
    In1[2] = '\0';

    return;
}

void Timer_AfterRead_Port1_Callback()
{
//    OS_TIMER_Stop(&Timer_AfterRead_Port1);

//    linux_read_failure_port1++;
//    linux_read_failure_total = linux_read_failure_port1 + linux_read_failure_port2;
//    char data[256];
//    sprintf(data, "linux_read_failure_port1 = %lu, linux_read_failure_port2 = %lu, linux_read_failure_total = %lu\r\n", linux_read_failure_port1, linux_read_failure_port2, linux_read_failure_total);
//
//    UART_Debug_PutString("****************************\r\n");
//    UART_Debug_PutString("Timer_AfterRead_Port1_Callback\r\n");
//    HAL_IWDG_Refresh(&hiwdg);
//    UART_Debug_PutString(data);
//    UART_Debug_PutString("****************************\r\n");
//    HAL_IWDG_Refresh(&hiwdg);

	if(!q_put_message(&_Queue_Send, Port1_W, Port1_W_Counter)){
		UART_Debug_PutString("Timer_AfterRead_Port1_Callback >> failed to put to _Queue_Send >> ");
		UART_Debug_PutString(Port1_W);
		UART_Debug_PutString("\r\n");
	}

    Port1_W_Counter = 0;
    Port1_w_Start = 0;
    Port1_W[0] = '\0';
    Port1_w_have = 0;

    return;
}

void Timer_AfterRead_Input2_Callback()
{
//    OS_TIMER_Stop(&Timer_AfterRead_In2);
//
//    linux_read_input_failure_port2++;
//    linux_read_input_failure_total = linux_read_input_failure_port1 + linux_read_input_failure_port2;
//    char data[256];
//    sprintf(data, "linux_read_input_failure_port1 = %lu, linux_read_input_failure_port2 = %lu, linux_read_input_failure_total = %lu\r\n", linux_read_input_failure_port1, linux_read_input_failure_port2, linux_read_input_failure_total);
//
//    UART_Debug_PutString("****************************\r\n");
//    UART_Debug_PutString("Timer_AfterRead_Input2_Callback\r\n");
//    HAL_IWDG_Refresh(&hiwdg);
//    UART_Debug_PutString(data);
//    UART_Debug_PutString("****************************\r\n");
//    HAL_IWDG_Refresh(&hiwdg);

	if(!q_put_message(&_Queue_Send, In2, 3)){
		UART_Debug_PutString("Timer_AfterRead_Input2_Callback >> failed to put to _Queue_Send >> ");
		UART_Debug_PutString(In2);
		UART_Debug_PutString("\r\n");
	}

    In2[0] = '\0';
    In2[1] = '\0';
    In2[2] = '\0';

    return;
}

void Timer_AfterRead_Port2_Callback()
{
//    OS_TIMER_Stop(&Timer_AfterRead_Port2);
//
//    linux_read_failure_port2++;
//    linux_read_failure_total = linux_read_failure_port1 + linux_read_failure_port2;
//    char data[256];
//    sprintf(data, "linux_read_failure_port1 = %lu, linux_read_failure_port2 = %lu, linux_read_failure_total = %lu\r\n", linux_read_failure_port1, linux_read_failure_port2, linux_read_failure_total);
//
//    UART_Debug_PutString("****************************\r\n");
//    UART_Debug_PutString("Timer_AfterRead_Port2_Callback\r\n");
//    HAL_IWDG_Refresh(&hiwdg);
//    UART_Debug_PutString(data);
//    UART_Debug_PutString("****************************\r\n");
//    HAL_IWDG_Refresh(&hiwdg);

	if(!q_put_message(&_Queue_Send, Port2_W, Port2_W_Counter)){
		UART_Debug_PutString("Timer_AfterRead_Port2_Callback >> failed to put to _Queue_Send >> ");
		UART_Debug_PutString(Port2_W);
		UART_Debug_PutString("\r\n");
	}

    Port2_W_Counter = 0;
    Port2_w_Start = 0;
    Port2_W[0] = '\0';
    Port2_w_have = 0;

    return;
}

void Timer_WD_Callback()
{
    OS_TIMER_Stop(&Timer_WD);
    HAL_IWDG_Refresh(&hiwdg);
    OS_TIMER_Restart(&Timer_WD);

    return;
}

void Timer_Inps_Callback()
{
    OS_TIMER_Stop(&Timer_Inps);
    Inputs_Job();
    Inps();
//    UART_Debug_PutString("inps\r\n");
    OS_TIMER_Restart(&Timer_Inps);
    return;
}

//void Timer_Update_Callback()
//{
//    OS_TIMER_Stop(&Timer_Update);
//    UART_Debug_PutString("UPDATE FAILED >> Reset\r\n");
////    UART_Linux_PutString("UPDATE FAILED >> Reset\r\n");
//
////    NVIC_SystemReset();
//    return;
//}

void Timer_Intr_Callback()
{
	for(uint8_t i = 0; i < intr_counter; i++)
		Ports_Job(intr[i]);
	intr_counter = 0;
	return;
}

void HAL_UART_RxCpltCallback(UART_HandleTypeDef *huart)
{
//	__disable_irq();
	OS_INT_Enter();

	if(huart->Instance == USART1){
		OS_TIMER_Restart(&Timer_Read_Linux);
		UART_Linux_Rx_Buffer[UART_Linux_Rx_Counter] = huart1.Instance->DR;
		UART_Linux_Rx_Counter++;
//		if(UART_Linux_Rx_Buffer[UART_Linux_Rx_Counter - 1] == '\0'){
//			OS_TIMER_Stop(&Timer_Read_Linux);
////			CmdTask(UART_Linux_Rx_Buffer);
//			if(!q_put_message(&_Queue_Get, UART_Linux_Rx_Buffer, UART_Linux_Rx_Counter)){
//				uart_debug_print("HAL_UART_RxCpltCallback >> failed to put to _Queue_Main >> ");
//				uart_debug_print(UART_Linux_Rx_Buffer);
//				uart_debug_print("\r\n");
//			}
//			memset(UART_Linux_Rx_Buffer, '\0', UART_Linux_Rx_Counter);
//			UART_Linux_Rx_Counter = 0;
//		}

		HAL_UART_Receive_DMA(&huart1, linux_rx, sizeof(linux_rx));
	}

    OS_INT_Leave();
//    __enable_irq();

	return;
}

//void HAL_UARTEx_RxEventCallback(UART_HandleTypeDef *huart, uint16_t Size)
//{
////	__disable_irq();
//	OS_INT_Enter();
//
//
//	if(huart->Instance == USART1){
//		UART_Linux_Rx_Counter = Size;
//
//		if(UART_Linux_Rx_Buffer[UART_Linux_Rx_Counter - 1] == '\0'){
//			UART_Debug_PutString("true: ");
//			UART_Debug_PutString(UART_Linux_Rx_Buffer);
//			UART_Debug_PutString("\r\n");
//			CmdTask(UART_Linux_Rx_Buffer);
//		}
//		else{
//			UART_Debug_PutString("false: ");
//			UART_Debug_PutString(UART_Linux_Rx_Buffer);
//			UART_Debug_PutString("\r\n");
//			Timer_Read_Linux_Callback();
//		}
//		memset(UART_Linux_Rx_Buffer, '\0', UART_Linux_Rx_Counter);
//		UART_Linux_Rx_Counter = 0;
//		UART_Linux_StartBit = 0;
//
//		if(UART_Linux_Rx_Buffer[UART_Linux_Rx_Counter - 1] == '\0'){
//			CmdTask(UART_Linux_Rx_Buffer);
//		}
//		else{
//			linux_uart_failure++;
//			char data[128];
//			sprintf(data, "linux_uart_failure = %lu\r\n", linux_uart_failure);
//			UART_Debug_PutString("****************************\r\n");
//			UART_Debug_PutString("Timer_Read_Linux_Callback\r\n");
//			UART_Debug_PutString(data);
//			UART_Debug_PutString(UART_Linux_Rx_Buffer);
//			UART_Debug_PutString("\r\n");
//			UART_Debug_PutString("****************************\r\n");
//		}
//		HAL_UARTEx_ReceiveToIdle_DMA(&huart1, (uint8_t*)UART_Linux_Rx_Buffer, sizeof(UART_Linux_Rx_Buffer));
//		HAL_UARTEx_ReceiveToIdle_IT(&huart1, (uint8_t*)UART_Linux_Rx_Buffer, sizeof(UART_Linux_Rx_Buffer));
//	}
//
//
//    OS_INT_Leave();
////    __enable_irq();
//
//	return;
//}

void HAL_GPIO_EXTI_Callback(uint16_t GPIO_Pin)
{
  /* Prevent unused argument(s) compilation warning */
//	__disable_irq();
	OS_INT_Enter();

	OS_TIMER_Restart(&Timer_intr);
	intr[intr_counter] = (!HAL_GPIO_ReadPin(GPIOC, GPIO_Input_1_Pin)  << 0) | (!HAL_GPIO_ReadPin(GPIOC, GPIO_Input_2_Pin)  << 1) |
			             (!HAL_GPIO_ReadPin(GPIOA, GPIO_Input_4_Pin)  << 5) | (!HAL_GPIO_ReadPin(GPIOA, GPIO_Input_5_Pin)  << 6) ;
	intr_counter++;
//	Ports_Job(GPIO_Pin);

	OS_INT_Leave();
//	__enable_irq();
  /* NOTE: This function Should not be modified, when the callback is needed,
           the HAL_GPIO_EXTI_Callback could be implemented in the user file
   */
}

/* USER CODE END 4 */

void HAL_TIM_PeriodElapsedCallback(TIM_HandleTypeDef *htim)
{
  if (htim->Instance == TIM2) {
    HAL_IncTick();
  }
}

void Error_Handler(void)
{
  __disable_irq();
  while (1)
  {
  }
}
